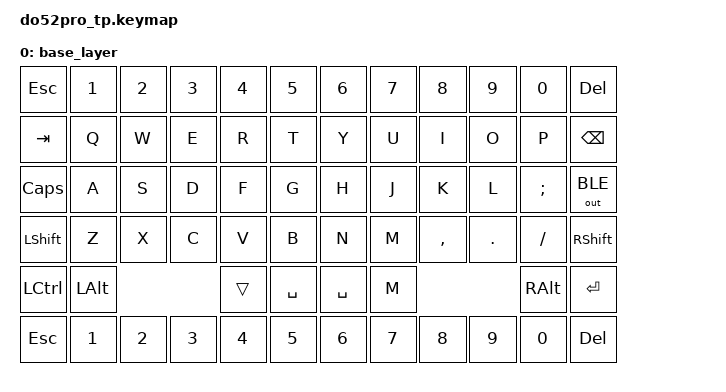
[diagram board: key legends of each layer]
#include <behaviors.dtsi>
#include <dt-bindings/zmk/keys.h>
#include <dt-bindings/zmk/bt.h>
#include <dt-bindings/zmk/outputs.h>

#define BASE 0
#define LOWER 1
#define MOUSE_KEYS 2
#define MOUSE_TP 3
#define MOUSE_TP_SET 4

#define HAS_MOUSE_TP

#ifdef HAS_MOUSE_TP
  // We store the trackpoint settings in a separate file
  // to make organization a little easier.
  #include "include/mouse_tp.dtsi"
#endif  // HAS_MOUSE_TP

/ {
    keymap {
        compatible = "zmk,keymap";

        base_layer {
            bindings = <
&kp ESCAPE    &kp N1          &kp N2             &kp N3            &kp N4           &kp N5      &kp N6     &kp N7    &kp N8      &kp N9   &kp N0         &kp DELETE
&kp TAB       &kp Q           &kp W              &kp E             &kp R            &kp T       &kp Y      &kp U     &kp I       &kp O    &kp P          &kp BSPC
&kp CAPSLOCK  &kp A           &kp S              &kp D             &kp F            &kp G       &kp H      &kp J     &kp K       &kp L    &kp SEMI       &out OUT_BLE
&kp LSHFT     &kp Z           &kp X              &kp C             &kp V            &kp B       &kp N      &kp M     &kp COMMA   &kp DOT  &kp FSLH       &kp RSHFT
&kp LCTRL     &kp LEFT_ALT                                         &trans           &kp SPACE   &kp SPACE  &kp M                          &kp RIGHT_ALT  &kp ENTER
&kp ESCAPE    &kp N1          &kp N2             &kp N3            &kp N4           &kp N5      &kp N6     &kp N7    &kp N8      &kp N9   &kp N0         &kp DELETE
            >;
        };
    };

#ifdef HAS_MOUSE_TP

    // Automatically activated when the mouse or trackpoint moves.
    // Configured in `include/mouse_tp.dtsi`.
    MouseTP_layer {
      display-name = "TP";
      bindings = <
&kp ESCAPE    &kp N1          &kp N2             &kp N3            &kp N4           &kp N5      &kp N6     &kp N7    &kp N8      &kp N9   &kp N0         &kp DELETE
&kp TAB       &kp Q           &kp W              &kp E             &kp R            &kp T       &kp Y      &kp U     &kp I       &kp O    &kp P          &kp BSPC
&kp CAPSLOCK  &kp A           &kp S              &kp D             &kp F            &kp G       &kp H      &kp J     &kp K       &kp L    &kp SEMI       &out OUT_BLE
&kp LSHFT     &kp Z           &kp X              &kp C             &kp V            &kp B       &kp N      &kp M     &kp COMMA   &kp DOT  &kp FSLH       &kp RSHFT
&kp LCTRL     &kp LEFT_ALT                                         &trans           &kp SPACE   &kp SPACE  &kp M                          &kp RIGHT_ALT  &kp ENTER
&kp ESCAPE    &kp N1          &kp N2             &kp N3            &kp N4           &kp N5      &kp N6     &kp N7    &kp N8      &kp N9   &kp N0         &kp DELETE
      >;
    };

    // You can find the defines for the actual key press behaviors in `include/mouse_tp.dtsi`.
    MouseSettings_layer {
      display-name = "TP Set";
      bindings = <
&kp ESCAPE    &kp N1          &kp N2             &kp N3            &kp N4           &kp N5      &kp N6     &kp N7    &kp N8      &kp N9   &kp N0         &kp DELETE
&kp TAB       &kp Q           &kp W              &kp E             &kp R            &kp T       &kp Y      &kp U     &kp I       &kp O    &kp P          &kp BSPC
&kp CAPSLOCK  &kp A           &kp S              &kp D             &kp F            &kp G       &kp H      &kp J     &kp K       &kp L    &kp SEMI       &out OUT_BLE
&kp LSHFT     &kp Z           &kp X              &kp C             &kp V            &kp B       &kp N      &kp M     &kp COMMA   &kp DOT  &kp FSLH       &kp RSHFT
&kp LCTRL     &kp LEFT_ALT                                         &trans           &kp SPACE   &kp SPACE  &kp M                          &kp RIGHT_ALT  &kp ENTER
&kp ESCAPE    &kp N1          &kp N2             &kp N3            &kp N4           &kp N5      &kp N6     &kp N7    &kp N8      &kp N9   &kp N0         &kp DELETE
      >;
    };

#endif
};
